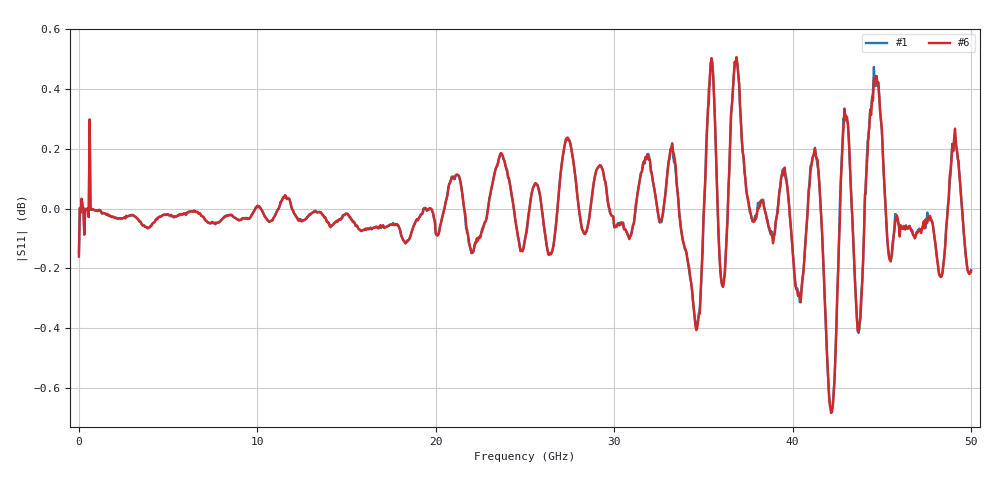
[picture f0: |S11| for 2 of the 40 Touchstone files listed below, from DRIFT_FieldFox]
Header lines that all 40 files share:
!Created with skrf (http://scikit-rf.org).
# Hz S RI R 50.0
!freq ReS11 ImS11
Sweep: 300 kHz to 50 GHz
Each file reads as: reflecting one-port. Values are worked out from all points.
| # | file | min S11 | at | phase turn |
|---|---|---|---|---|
| 1 | DRIFT1_t=34168s.s1p | -0.7 dB | 42.2 GHz | -818 deg |
| 2 | DRIFT1_t=34221s.s1p | -0.7 dB | 42.2 GHz | -818 deg |
| 3 | DRIFT1_t=34274s.s1p | -0.7 dB | 42.2 GHz | -818 deg |
| 4 | DRIFT1_t=34326s.s1p | -0.7 dB | 42.2 GHz | -818 deg |
| 5 | DRIFT1_t=34379s.s1p | -0.7 dB | 42.2 GHz | -818 deg |
| 6 | DRIFT1_t=34432s.s1p | -0.7 dB | 42.15 GHz | -818 deg |
| 7 | DRIFT1_t=34485s.s1p | -0.7 dB | 42.2 GHz | -818 deg |
| 8 | DRIFT1_t=34538s.s1p | -0.7 dB | 42.15 GHz | -818 deg |
| 9 | DRIFT1_t=34591s.s1p | -0.7 dB | 42.2 GHz | -818 deg |
| 10 | DRIFT1_t=34644s.s1p | -0.7 dB | 42.2 GHz | -818 deg |
| 11 | DRIFT1_t=34697s.s1p | -0.7 dB | 42.15 GHz | -818 deg |
| 12 | DRIFT1_t=34750s.s1p | -0.7 dB | 42.15 GHz | -818 deg |
| 13 | DRIFT1_t=34803s.s1p | -0.7 dB | 42.2 GHz | -818 deg |
| 14 | DRIFT1_t=34856s.s1p | -0.7 dB | 42.2 GHz | -818 deg |
| 15 | DRIFT1_t=34908s.s1p | -0.7 dB | 42.2 GHz | -818 deg |
| 16 | DRIFT1_t=34961s.s1p | -0.7 dB | 42.2 GHz | -818 deg |
| 17 | DRIFT1_t=35014s.s1p | -0.7 dB | 42.15 GHz | -818 deg |
| 18 | DRIFT1_t=35067s.s1p | -0.7 dB | 42.15 GHz | -818 deg |
| 19 | DRIFT1_t=35120s.s1p | -0.7 dB | 42.2 GHz | -818 deg |
| 20 | DRIFT1_t=35173s.s1p | -0.7 dB | 42.15 GHz | -818 deg |
| 21 | DRIFT1_t=35226s.s1p | -0.7 dB | 42.15 GHz | -818 deg |
| 22 | DRIFT1_t=35279s.s1p | -0.7 dB | 42.15 GHz | -818 deg |
| 23 | DRIFT1_t=35331s.s1p | -0.7 dB | 42.2 GHz | -818 deg |
| 24 | DRIFT1_t=35384s.s1p | -0.7 dB | 42.15 GHz | -818 deg |
| 25 | DRIFT1_t=35437s.s1p | -0.7 dB | 42.2 GHz | -818 deg |
| 26 | DRIFT1_t=35490s.s1p | -0.7 dB | 42.15 GHz | -818 deg |
| 27 | DRIFT1_t=35543s.s1p | -0.7 dB | 42.15 GHz | -818 deg |
| 28 | DRIFT1_t=35596s.s1p | -0.7 dB | 42.2 GHz | -818 deg |
| 29 | DRIFT1_t=35649s.s1p | -0.7 dB | 42.2 GHz | -818 deg |
| 30 | DRIFT1_t=35701s.s1p | -0.7 dB | 42.2 GHz | -818 deg |
| 31 | DRIFT1_t=35754s.s1p | -0.7 dB | 42.2 GHz | -818 deg |
| 32 | DRIFT1_t=35807s.s1p | -0.7 dB | 42.2 GHz | -818 deg |
| 33 | DRIFT1_t=35860s.s1p | -0.7 dB | 42.15 GHz | -818 deg |
| 34 | DRIFT1_t=35913s.s1p | -0.7 dB | 42.2 GHz | -818 deg |
| 35 | DRIFT1_t=35966s.s1p | -0.7 dB | 42.2 GHz | -818 deg |
| 36 | DRIFT1_t=36019s.s1p | -0.7 dB | 42.2 GHz | -818 deg |
| 37 | DRIFT1_t=36071s.s1p | -0.7 dB | 42.2 GHz | -818 deg |
| 38 | DRIFT1_t=36124s.s1p | -0.7 dB | 42.15 GHz | -818 deg |
| 39 | DRIFT1_t=36177s.s1p | -0.7 dB | 42.2 GHz | -818 deg |
| 40 | DRIFT1_t=36230s.s1p | -0.7 dB | 42.15 GHz | -818 deg |
